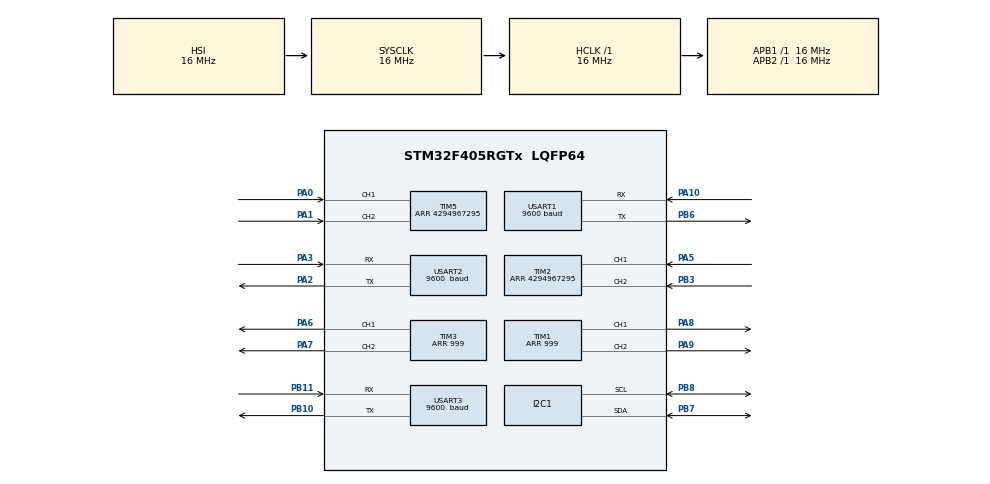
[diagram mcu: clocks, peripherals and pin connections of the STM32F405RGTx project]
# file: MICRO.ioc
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Mcu.Family=STM32F4
Mcu.Name=STM32F405RGTx
Mcu.Package=LQFP64
NVIC.PriorityGroup=NVIC_PRIORITYGROUP_4
PA0-WKUP.Signal=S_TIM5_CH1
PA1.Signal=S_TIM5_CH2
PA10.Mode=Asynchronous
PA10.Signal=USART1_RX
PA13.Mode=Serial_Wire
PA13.Signal=SYS_JTMS-SWDIO
PA14.Mode=Serial_Wire
PA14.Signal=SYS_JTCK-SWCLK
PA2.Mode=Asynchronous
PA2.Signal=USART2_TX
PA3.Mode=Asynchronous
PA3.Signal=USART2_RX
PA5.Signal=S_TIM2_CH1_ETR
PA6.Signal=S_TIM3_CH1
PA7.Signal=S_TIM3_CH2
PA8.Signal=S_TIM1_CH1
PA9.Signal=S_TIM1_CH2
PB10.Mode=Asynchronous
PB10.Signal=USART3_TX
PB11.Mode=Asynchronous
PB11.Signal=USART3_RX
PB3.Signal=S_TIM2_CH2
PB6.Mode=Asynchronous
PB6.Signal=USART1_TX
PB7.Mode=I2C
PB7.Signal=I2C1_SDA
PB8.Mode=I2C
PB8.Signal=I2C1_SCL
ProjectManager.HeapSize=0x200
ProjectManager.StackSize=0x400
ProjectManager.TargetToolchain=STM32CubeIDE
RCC.AHBFreq_Value=16000000
RCC.APB1Freq_Value=16000000
RCC.APB2Freq_Value=16000000
RCC.CortexFreq_Value=16000000
RCC.HSE_VALUE=25000000
RCC.HSI_VALUE=16000000
RCC.LSE_VALUE=32768
RCC.SYSCLKFreq_VALUE=16000000
RCC.VCOOutputFreq_Value=192000000
SH.S_TIM1_CH1.0=TIM1_CH1,PWM Generation1 CH1
SH.S_TIM1_CH2.0=TIM1_CH2,PWM Generation2 CH2
SH.S_TIM2_CH1_ETR.0=TIM2_CH1,Encoder_Interface
SH.S_TIM2_CH2.0=TIM2_CH2,Encoder_Interface
SH.S_TIM3_CH1.0=TIM3_CH1,PWM Generation1 CH1
SH.S_TIM3_CH2.0=TIM3_CH2,PWM Generation2 CH2
SH.S_TIM5_CH1.0=TIM5_CH1,Encoder_Interface
SH.S_TIM5_CH2.0=TIM5_CH2,Encoder_Interface
TIM1.Channel-PWM\ Generation1\ CH1=TIM_CHANNEL_1
TIM1.Channel-PWM\ Generation2\ CH2=TIM_CHANNEL_2
TIM1.Period=999
TIM2.EncoderMode=TIM_ENCODERMODE_TI12
TIM2.Period=4294967295
TIM3.Channel-PWM\ Generation1\ CH1=TIM_CHANNEL_1
TIM3.Channel-PWM\ Generation2\ CH2=TIM_CHANNEL_2
TIM3.Period=999
TIM5.EncoderMode=TIM_ENCODERMODE_TI12
TIM5.Period=4294967295
USART1.BaudRate=9600
USART1.VirtualMode=VM_ASYNC
USART2.BaudRate=9600 
USART2.VirtualMode=VM_ASYNC
USART3.BaudRate=9600 
USART3.VirtualMode=VM_ASYNC
VP_TIM1_VS_ClockSourceINT.Mode=Internal
board=custom

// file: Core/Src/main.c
/* USER CODE BEGIN Header */
/* USER CODE END Header */
#include "main.h"

/* USER CODE BEGIN Includes */
#include "imu.h"
#include "sensors.h"
#include "motor.h"
#include "motion.h"
#include "map.h"
/* USER CODE END Includes */

/* USER CODE BEGIN PD */
#define MAZE_WIDTH          3
#define MAZE_HEIGHT         2

#define WALL_THRESHOLD_MM   70
#define CELL_SIZE_MM        650

#define START_X             2
#define START_Y             0
#define START_DIR           DIR_NORTH

/* USER CODE END PD */

I2C_HandleTypeDef hi2c1;

TIM_HandleTypeDef htim1;
TIM_HandleTypeDef htim2;
TIM_HandleTypeDef htim3;
TIM_HandleTypeDef htim5;

UART_HandleTypeDef huart1;
UART_HandleTypeDef huart2;
UART_HandleTypeDef huart3;

/* USER CODE BEGIN PV */
static uint8_t  walls_buf[MAZE_WIDTH * MAZE_HEIGHT];
static uint16_t weights_buf[MAZE_WIDTH * MAZE_HEIGHT];
static uint8_t  visited_buf[MAZE_WIDTH * MAZE_HEIGHT];
static maze_t   maze;

static uint16_t current_x = START_X;
static uint16_t current_y = START_Y;
static direction_t current_direction = START_DIR;

/* USER CODE END PV */

void SystemClock_Config(void);
static void MX_GPIO_Init(void);
static void MX_USART2_UART_Init(void);
static void MX_USART1_UART_Init(void);
static void MX_USART3_UART_Init(void);
static void MX_I2C1_Init(void);
static void MX_TIM1_Init(void);
static void MX_TIM2_Init(void);
static void MX_TIM3_Init(void);
static void MX_TIM5_Init(void);

/* USER CODE BEGIN 0 */
static const int8_t DX[4] = {0, 1, 0, -1};
static const int8_t DY[4] = {-1, 0, 1, 0};

static inline bool distance_means_wall(uint16_t distance_mm) {
    if (distance_mm == 0xFFFF) return false;
    return distance_mm < WALL_THRESHOLD_MM;
}

static inline direction_t rotate_direction(direction_t base, int8_t steps) {
    int8_t result = ((int8_t)base + steps) % 4;
    if (result < 0) result += 4;
    return (direction_t)result;
}

static void scan_and_record_walls(void) {
    uint16_t dist_front = sensor_get_distance_front();
    uint16_t dist_left  = sensor_get_distance_left();
    uint16_t dist_right = sensor_get_distance_right();

    while (dist_front == 0xFFFF && dist_left == 0xFFFF && dist_right == 0xFFFF) {
    	dist_front = sensor_get_distance_front();
    	dist_left  = sensor_get_distance_left();
    	dist_right = sensor_get_distance_right();
    }

    bool wall_front = distance_means_wall(dist_front);
    bool wall_left  = distance_means_wall(dist_left);
    bool wall_right = distance_means_wall(dist_right);

    direction_t global_front = current_direction;
    direction_t global_left  = rotate_direction(current_direction, -1);
    direction_t global_right = rotate_direction(current_direction, +1);

    map_set_wall(&maze, current_x, current_y, global_front, wall_front);
    map_set_wall(&maze, current_x, current_y, global_left,  wall_left);
    map_set_wall(&maze, current_x, current_y, global_right, wall_right);

    map_set_visited(&maze, current_x, current_y);
}

static void move_one_cell(direction_t dir) {
    turn_to_direction(dir, current_direction);
    current_direction = dir;

    move_forward(CELL_SIZE_MM);

    current_x = (uint16_t)((int16_t)current_x + DX[dir]);
    current_y = (uint16_t)((int16_t)current_y + DY[dir]);
}

static bool find_nearest_unvisited(uint16_t *out_x, uint16_t *out_y) {
    uint16_t saved_goal_x = maze.goal_x;
    uint16_t saved_goal_y = maze.goal_y;
    maze.goal_x = current_x;
    maze.goal_y = current_y;
    map_compute_weights(&maze);
    maze.goal_x = saved_goal_x;
    maze.goal_y = saved_goal_y;

    uint16_t best_weight = 0xFFFF;
    uint16_t best_x = 0, best_y = 0;
    bool found = false;

    for (uint16_t y = 0; y < maze.height; y++) {
        for (uint16_t x = 0; x < maze.width; x++) {
            if (map_is_visited(&maze, x, y)) continue;
            uint16_t w = map_get_weight(&maze, x, y);
            if (w == 0xFFFF) continue;
            if (w < best_weight) {
                best_weight = w;
                best_x = x;
                best_y = y;
                found = true;
            }
        }
    }

    if (found) {
        *out_x = best_x;
        *out_y = best_y;
    }
    return found;
}

static void explore_maze(void) {
    while (1) {
        scan_and_record_walls();

        uint16_t target_x, target_y;
        if (!find_nearest_unvisited(&target_x, &target_y)) {
            break;
        }

        uint16_t saved_goal_x = maze.goal_x;
        uint16_t saved_goal_y = maze.goal_y;
        maze.goal_x = target_x;
        maze.goal_y = target_y;
        map_compute_weights(&maze);

        while (current_x != target_x || current_y != target_y) {
            direction_t next_dir = map_get_best_neighbor(&maze, current_x, current_y);
            if (next_dir == 0xFF) {
                break;
            }
            move_one_cell(next_dir);
            scan_and_record_walls();
        }

        maze.goal_x = saved_goal_x;
        maze.goal_y = saved_goal_y;
    }

    motor_brake();
}

/* USER CODE END 0 */

int main(void)
{

  /* MCU Configuration--------------------------------------------------------*/

  /* Reset of all peripherals, Initializes the Flash interface and the Systick. */
  HAL_Init();

  /* Configure the system clock */
  SystemClock_Config();

  /* Initialize all configured peripherals */
  MX_GPIO_Init();
  MX_USART2_UART_Init();
  MX_USART1_UART_Init();
  MX_USART3_UART_Init();
  MX_I2C1_Init();
  MX_TIM1_Init();
  MX_TIM2_Init();
  MX_TIM3_Init();
  MX_TIM5_Init();
  /* USER CODE BEGIN 2 */

  if (!imu_init()) {
      Error_Handler();
  }

  map_init(&maze, MAZE_WIDTH, MAZE_HEIGHT, 0, 1,
            walls_buf, weights_buf, visited_buf);

  current_x = START_X;
  current_y = START_Y;
  current_direction = START_DIR;

  HAL_Delay(500);

  explore_maze();
  /* USER CODE END 2 */

  /* Infinite loop */
  while (1)
  {

    /* USER CODE BEGIN 3 */
	  HAL_Delay(1000);
  }
  /* USER CODE END 3 */
}

void SystemClock_Config(void)
{
  RCC_OscInitTypeDef RCC_OscInitStruct = {0};
  RCC_ClkInitTypeDef RCC_ClkInitStruct = {0};

  /** Configure the main internal regulator output voltage
  */
  __HAL_RCC_PWR_CLK_ENABLE();
  __HAL_PWR_VOLTAGESCALING_CONFIG(PWR_REGULATOR_VOLTAGE_SCALE1);

  /** Initializes the RCC Oscillators according to the specified parameters
  * in the RCC_OscInitTypeDef structure.
  */
  RCC_OscInitStruct.OscillatorType = RCC_OSCILLATORTYPE_HSI;
  RCC_OscInitStruct.HSIState = RCC_HSI_ON;
  RCC_OscInitStruct.HSICalibrationValue = RCC_HSICALIBRATION_DEFAULT;
  RCC_OscInitStruct.PLL.PLLState = RCC_PLL_NONE;
  if (HAL_RCC_OscConfig(&RCC_OscInitStruct) != HAL_OK)
  {
    Error_Handler();
  }

  /** Initializes the CPU, AHB and APB buses clocks
  */
  RCC_ClkInitStruct.ClockType = RCC_CLOCKTYPE_HCLK|RCC_CLOCKTYPE_SYSCLK
                              |RCC_CLOCKTYPE_PCLK1|RCC_CLOCKTYPE_PCLK2;
  RCC_ClkInitStruct.SYSCLKSource = RCC_SYSCLKSOURCE_HSI;
  RCC_ClkInitStruct.AHBCLKDivider = RCC_SYSCLK_DIV1;
  RCC_ClkInitStruct.APB1CLKDivider = RCC_HCLK_DIV1;
  RCC_ClkInitStruct.APB2CLKDivider = RCC_HCLK_DIV1;

  if (HAL_RCC_ClockConfig(&RCC_ClkInitStruct, FLASH_LATENCY_0) != HAL_OK)
  {
    Error_Handler();
  }
}

static void MX_I2C1_Init(void)
{

  hi2c1.Instance = I2C1;
  hi2c1.Init.ClockSpeed = 100000;
  hi2c1.Init.DutyCycle = I2C_DUTYCYCLE_2;
  hi2c1.Init.OwnAddress1 = 0;
  hi2c1.Init.AddressingMode = I2C_ADDRESSINGMODE_7BIT;
  hi2c1.Init.DualAddressMode = I2C_DUALADDRESS_DISABLE;
  hi2c1.Init.OwnAddress2 = 0;
  hi2c1.Init.GeneralCallMode = I2C_GENERALCALL_DISABLE;
  hi2c1.Init.NoStretchMode = I2C_NOSTRETCH_DISABLE;
  if (HAL_I2C_Init(&hi2c1) != HAL_OK)
  {
    Error_Handler();
  }

}

static void MX_TIM1_Init(void)
{

  TIM_ClockConfigTypeDef sClockSourceConfig = {0};
  TIM_MasterConfigTypeDef sMasterConfig = {0};
  TIM_OC_InitTypeDef sConfigOC = {0};
  TIM_BreakDeadTimeConfigTypeDef sBreakDeadTimeConfig = {0};

  htim1.Instance = TIM1;
  htim1.Init.Prescaler = 0;
  htim1.Init.CounterMode = TIM_COUNTERMODE_UP;
  htim1.Init.Period = 999;
  htim1.Init.ClockDivision = TIM_CLOCKDIVISION_DIV1;
  htim1.Init.RepetitionCounter = 0;
  htim1.Init.AutoReloadPreload = TIM_AUTORELOAD_PRELOAD_DISABLE;
  if (HAL_TIM_Base_Init(&htim1) != HAL_OK)
  {
    Error_Handler();
  }
  sClockSourceConfig.ClockSource = TIM_CLOCKSOURCE_INTERNAL;
  if (HAL_TIM_ConfigClockSource(&htim1, &sClockSourceConfig) != HAL_OK)
  {
    Error_Handler();
  }
  if (HAL_TIM_PWM_Init(&htim1) != HAL_OK)
  {
    Error_Handler();
  }
  sMasterConfig.MasterOutputTrigger = TIM_TRGO_RESET;
  sMasterConfig.MasterSlaveMode = TIM_MASTERSLAVEMODE_DISABLE;
  if (HAL_TIMEx_MasterConfigSynchronization(&htim1, &sMasterConfig) != HAL_OK)
  {
    Error_Handler();
  }
  sConfigOC.OCMode = TIM_OCMODE_PWM1;
  sConfigOC.Pulse = 0;
  sConfigOC.OCPolarity = TIM_OCPOLARITY_HIGH;
  sConfigOC.OCNPolarity = TIM_OCNPOLARITY_HIGH;
  sConfigOC.OCFastMode = TIM_OCFAST_DISABLE;
  sConfigOC.OCIdleState = TIM_OCIDLESTATE_RESET;
  sConfigOC.OCNIdleState = TIM_OCNIDLESTATE_RESET;
  if (HAL_TIM_PWM_ConfigChannel(&htim1, &sConfigOC, TIM_CHANNEL_1) != HAL_OK)
  {
    Error_Handler();
  }
  if (HAL_TIM_PWM_ConfigChannel(&htim1, &sConfigOC, TIM_CHANNEL_2) != HAL_OK)
  {
    Error_Handler();
  }
  sBreakDeadTimeConfig.OffStateRunMode = TIM_OSSR_DISABLE;
  sBreakDeadTimeConfig.OffStateIDLEMode = TIM_OSSI_DISABLE;
  sBreakDeadTimeConfig.LockLevel = TIM_LOCKLEVEL_OFF;
  sBreakDeadTimeConfig.DeadTime = 0;
  sBreakDeadTimeConfig.BreakState = TIM_BREAK_DISABLE;
  sBreakDeadTimeConfig.BreakPolarity = TIM_BREAKPOLARITY_HIGH;
  sBreakDeadTimeConfig.AutomaticOutput = TIM_AUTOMATICOUTPUT_DISABLE;
  if (HAL_TIMEx_ConfigBreakDeadTime(&htim1, &sBreakDeadTimeConfig) != HAL_OK)
  {
    Error_Handler();
  }
  /* USER CODE BEGIN TIM1_Init 2 */
  HAL_TIM_PWM_Start(&htim1, TIM_CHANNEL_1);
  HAL_TIM_PWM_Start(&htim1, TIM_CHANNEL_2);

  /* USER CODE END TIM1_Init 2 */
  HAL_TIM_MspPostInit(&htim1);

}

static void MX_TIM2_Init(void)
{

  TIM_Encoder_InitTypeDef sConfig = {0};
  TIM_MasterConfigTypeDef sMasterConfig = {0};

  htim2.Instance = TIM2;
  htim2.Init.Prescaler = 0;
  htim2.Init.CounterMode = TIM_COUNTERMODE_UP;
  htim2.Init.Period = 4294967295;
  htim2.Init.ClockDivision = TIM_CLOCKDIVISION_DIV1;
  htim2.Init.AutoReloadPreload = TIM_AUTORELOAD_PRELOAD_DISABLE;
  sConfig.EncoderMode = TIM_ENCODERMODE_TI12;
  sConfig.IC1Polarity = TIM_ICPOLARITY_RISING;
  sConfig.IC1Selection = TIM_ICSELECTION_DIRECTTI;
  sConfig.IC1Prescaler = TIM_ICPSC_DIV1;
  sConfig.IC1Filter = 0;
  sConfig.IC2Polarity = TIM_ICPOLARITY_RISING;
  sConfig.IC2Selection = TIM_ICSELECTION_DIRECTTI;
  sConfig.IC2Prescaler = TIM_ICPSC_DIV1;
  sConfig.IC2Filter = 0;
  if (HAL_TIM_Encoder_Init(&htim2, &sConfig) != HAL_OK)
  {
    Error_Handler();
  }
  sMasterConfig.MasterOutputTrigger = TIM_TRGO_RESET;
  sMasterConfig.MasterSlaveMode = TIM_MASTERSLAVEMODE_DISABLE;
  if (HAL_TIMEx_MasterConfigSynchronization(&htim2, &sMasterConfig) != HAL_OK)
  {
    Error_Handler();
  }
  /* USER CODE BEGIN TIM2_Init 2 */
  HAL_TIM_Encoder_Start(&htim2, TIM_CHANNEL_ALL);

  /* USER CODE END TIM2_Init 2 */

}

static void MX_TIM3_Init(void)
{

  TIM_MasterConfigTypeDef sMasterConfig = {0};
  TIM_OC_InitTypeDef sConfigOC = {0};

  htim3.Instance = TIM3;
  htim3.Init.Prescaler = 0;
  htim3.Init.CounterMode = TIM_COUNTERMODE_UP;
  htim3.Init.Period = 999;
  htim3.Init.ClockDivision = TIM_CLOCKDIVISION_DIV1;
  htim3.Init.AutoReloadPreload = TIM_AUTORELOAD_PRELOAD_DISABLE;
  if (HAL_TIM_PWM_Init(&htim3) != HAL_OK)
  {
    Error_Handler();
  }
  sMasterConfig.MasterOutputTrigger = TIM_TRGO_RESET;
  sMasterConfig.MasterSlaveMode = TIM_MASTERSLAVEMODE_DISABLE;
  if (HAL_TIMEx_MasterConfigSynchronization(&htim3, &sMasterConfig) != HAL_OK)
  {
    Error_Handler();
  }
  sConfigOC.OCMode = TIM_OCMODE_PWM1;
  sConfigOC.Pulse = 0;
  sConfigOC.OCPolarity = TIM_OCPOLARITY_HIGH;
  sConfigOC.OCFastMode = TIM_OCFAST_DISABLE;
  if (HAL_TIM_PWM_ConfigChannel(&htim3, &sConfigOC, TIM_CHANNEL_1) != HAL_OK)
  {
    Error_Handler();
  }
  if (HAL_TIM_PWM_ConfigChannel(&htim3, &sConfigOC, TIM_CHANNEL_2) != HAL_OK)
  {
    Error_Handler();
  }
  /* USER CODE BEGIN TIM3_Init 2 */
  HAL_TIM_PWM_Start(&htim3, TIM_CHANNEL_1);
  HAL_TIM_PWM_Start(&htim3, TIM_CHANNEL_2);

  /* USER CODE END TIM3_Init 2 */
  HAL_TIM_MspPostInit(&htim3);

}

static void MX_TIM5_Init(void)
{

  TIM_Encoder_InitTypeDef sConfig = {0};
  TIM_MasterConfigTypeDef sMasterConfig = {0};

  htim5.Instance = TIM5;
  htim5.Init.Prescaler = 0;
  htim5.Init.CounterMode = TIM_COUNTERMODE_UP;
  htim5.Init.Period = 4294967295;
  htim5.Init.ClockDivision = TIM_CLOCKDIVISION_DIV1;
  htim5.Init.AutoReloadPreload = TIM_AUTORELOAD_PRELOAD_DISABLE;
  sConfig.EncoderMode = TIM_ENCODERMODE_TI12;
  sConfig.IC1Polarity = TIM_ICPOLARITY_RISING;
  sConfig.IC1Selection = TIM_ICSELECTION_DIRECTTI;
  sConfig.IC1Prescaler = TIM_ICPSC_DIV1;
  sConfig.IC1Filter = 0;
  sConfig.IC2Polarity = TIM_ICPOLARITY_RISING;
  sConfig.IC2Selection = TIM_ICSELECTION_DIRECTTI;
  sConfig.IC2Prescaler = TIM_ICPSC_DIV1;
  sConfig.IC2Filter = 0;
  if (HAL_TIM_Encoder_Init(&htim5, &sConfig) != HAL_OK)
  {
    Error_Handler();
  }
  sMasterConfig.MasterOutputTrigger = TIM_TRGO_RESET;
  sMasterConfig.MasterSlaveMode = TIM_MASTERSLAVEMODE_DISABLE;
  if (HAL_TIMEx_MasterConfigSynchronization(&htim5, &sMasterConfig) != HAL_OK)
  {
    Error_Handler();
  }
  /* USER CODE BEGIN TIM5_Init 2 */
  HAL_TIM_Encoder_Start(&htim5, TIM_CHANNEL_ALL);

  /* USER CODE END TIM5_Init 2 */

}

static void MX_USART1_UART_Init(void)
{

  huart1.Instance = USART1;
  huart1.Init.BaudRate = 9600;
  huart1.Init.WordLength = UART_WORDLENGTH_8B;
  huart1.Init.StopBits = UART_STOPBITS_1;
  huart1.Init.Parity = UART_PARITY_NONE;
  huart1.Init.Mode = UART_MODE_TX_RX;
  huart1.Init.HwFlowCtl = UART_HWCONTROL_NONE;
  huart1.Init.OverSampling = UART_OVERSAMPLING_16;
  if (HAL_UART_Init(&huart1) != HAL_OK)
  {
    Error_Handler();
  }

}

static void MX_USART2_UART_Init(void)
{

  huart2.Instance = USART2;
  huart2.Init.BaudRate = 9600 ;
  huart2.Init.WordLength = UART_WORDLENGTH_8B;
  huart2.Init.StopBits = UART_STOPBITS_1;
  huart2.Init.Parity = UART_PARITY_NONE;
  huart2.Init.Mode = UART_MODE_TX_RX;
  huart2.Init.HwFlowCtl = UART_HWCONTROL_NONE;
  huart2.Init.OverSampling = UART_OVERSAMPLING_16;
  if (HAL_UART_Init(&huart2) != HAL_OK)
  {
    Error_Handler();
  }

}

static void MX_USART3_UART_Init(void)
{

  huart3.Instance = USART3;
  huart3.Init.BaudRate = 9600 ;
  huart3.Init.WordLength = UART_WORDLENGTH_8B;
  huart3.Init.StopBits = UART_STOPBITS_1;
  huart3.Init.Parity = UART_PARITY_NONE;
  huart3.Init.Mode = UART_MODE_TX_RX;
  huart3.Init.HwFlowCtl = UART_HWCONTROL_NONE;
  huart3.Init.OverSampling = UART_OVERSAMPLING_16;
  if (HAL_UART_Init(&huart3) != HAL_OK)
  {
    Error_Handler();
  }

}

static void MX_GPIO_Init(void)
{
  GPIO_InitTypeDef GPIO_InitStruct = {0};

  /* GPIO Ports Clock Enable */
  __HAL_RCC_GPIOC_CLK_ENABLE();
  __HAL_RCC_GPIOH_CLK_ENABLE();
  __HAL_RCC_GPIOA_CLK_ENABLE();
  __HAL_RCC_GPIOB_CLK_ENABLE();
  __HAL_RCC_GPIOD_CLK_ENABLE();

  /*Configure GPIO pins : PC13 PC14 PC15 PC0
                           PC1 PC2 PC3 PC4
                           PC5 PC6 PC7 PC8
                           PC9 PC10 PC11 PC12 */
  GPIO_InitStruct.Pin = GPIO_PIN_13|GPIO_PIN_14|GPIO_PIN_15|GPIO_PIN_0
                          |GPIO_PIN_1|GPIO_PIN_2|GPIO_PIN_3|GPIO_PIN_4
                          |GPIO_PIN_5|GPIO_PIN_6|GPIO_PIN_7|GPIO_PIN_8
                          |GPIO_PIN_9|GPIO_PIN_10|GPIO_PIN_11|GPIO_PIN_12;
  GPIO_InitStruct.Mode = GPIO_MODE_ANALOG;
  GPIO_InitStruct.Pull = GPIO_NOPULL;
  HAL_GPIO_Init(GPIOC, &GPIO_InitStruct);

  /*Configure GPIO pins : PH0 PH1 */
  GPIO_InitStruct.Pin = GPIO_PIN_0|GPIO_PIN_1;
  GPIO_InitStruct.Mode = GPIO_MODE_ANALOG;
  GPIO_InitStruct.Pull = GPIO_NOPULL;
  HAL_GPIO_Init(GPIOH, &GPIO_InitStruct);

  /*Configure GPIO pins : PA4 PA11 PA12 PA15 */
  GPIO_InitStruct.Pin = GPIO_PIN_4|GPIO_PIN_11|GPIO_PIN_12|GPIO_PIN_15;
  GPIO_InitStruct.Mode = GPIO_MODE_ANALOG;
  GPIO_InitStruct.Pull = GPIO_NOPULL;
  HAL_GPIO_Init(GPIOA, &GPIO_InitStruct);

  /*Configure GPIO pins : PB0 PB1 PB2 PB12
                           PB13 PB14 PB15 PB4
                           PB5 PB9 */
  GPIO_InitStruct.Pin = GPIO_PIN_0|GPIO_PIN_1|GPIO_PIN_2|GPIO_PIN_12
                          |GPIO_PIN_13|GPIO_PIN_14|GPIO_PIN_15|GPIO_PIN_4
                          |GPIO_PIN_5|GPIO_PIN_9;
  GPIO_InitStruct.Mode = GPIO_MODE_ANALOG;
  GPIO_InitStruct.Pull = GPIO_NOPULL;
  HAL_GPIO_Init(GPIOB, &GPIO_InitStruct);

  /*Configure GPIO pin : PD2 */
  GPIO_InitStruct.Pin = GPIO_PIN_2;
  GPIO_InitStruct.Mode = GPIO_MODE_ANALOG;
  GPIO_InitStruct.Pull = GPIO_NOPULL;
  HAL_GPIO_Init(GPIOD, &GPIO_InitStruct);

}

void Error_Handler(void)
{
}
